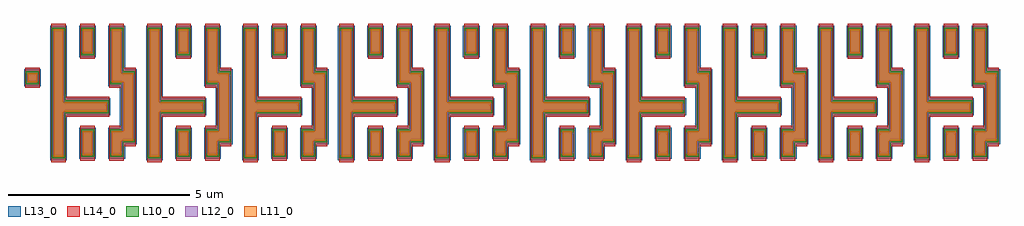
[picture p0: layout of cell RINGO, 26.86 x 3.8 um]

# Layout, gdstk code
import gdstk
lib = gdstk.Library(unit=1e-6, precision=1e-09)
def R(c, l, rs):  # rectangles x0, y0, x1, y1
    for r in rs: c.add(gdstk.rectangle(r[:2], r[2:], *l))
def A(c, l, x, y, w, h, nx, ny, dx, dy):  # array of equal rectangles
    R(c, l, [(x+i*dx, y+j*dy, x+i*dx+w, y+j*dy+h) for i in range(nx) for j in range(ny)])
def P(c, l, *ps):  # polygons
    for p in ps: c.add(gdstk.Polygon(p, *l))
L10_0 = (10, 0)
L11_0 = (11, 0)
L12_0 = (12, 0)
L13_0 = (13, 0)
L14_0 = (14, 0)

ringo = lib.new_cell('RINGO')
A(ringo, L10_0, -0.98, -0.42, 0.36, 2.84, 10, 1, 2.64, 0)
A(ringo, L10_0, -0.8, 0.82, 1.38, 0.36, 10, 1, 2.64, 0)
R(ringo, L10_0, [(-0.98,-0.38,-0.62,0.38), (-0.18,-0.38,0.18,0.38), (-0.18,-0.38,0.18,0.38), (0.62,-0.38,0.98,0.38), (1.66,-0.38,2.02,0.38), (2.46,-0.38,2.82,0.38), (2.46,-0.38,2.82,0.38), (3.26,-0.38,3.62,0.38), (4.3,-0.38,4.66,0.38), (5.1,-0.38,5.46,0.38), (5.1,-0.38,5.46,0.38), (5.9,-0.38,6.26,0.38), (6.94,-0.38,7.3,0.38), (7.74,-0.38,8.1,0.38), (7.74,-0.38,8.1,0.38), (8.54,-0.38,8.9,0.38), (9.58,-0.38,9.94,0.38), (10.38,-0.38,10.74,0.38), (10.38,-0.38,10.74,0.38), (11.18,-0.38,11.54,0.38), (12.22,-0.38,12.58,0.38), (13.02,-0.38,13.38,0.38), (13.02,-0.38,13.38,0.38), (13.82,-0.38,14.18,0.38), (14.86,-0.38,15.22,0.38), (15.66,-0.38,16.02,0.38), (15.66,-0.38,16.02,0.38), (16.46,-0.38,16.82,0.38), (17.5,-0.38,17.86,0.38), (18.3,-0.38,18.66,0.38), (18.3,-0.38,18.66,0.38), (19.1,-0.38,19.46,0.38), (20.14,-0.38,20.5,0.38), (20.94,-0.38,21.3,0.38), (20.94,-0.38,21.3,0.38), (21.74,-0.38,22.1,0.38), (22.78,-0.38,23.14,0.38), (23.58,-0.38,23.94,0.38), (23.58,-0.38,23.94,0.38), (24.38,-0.38,24.74,0.38), (-1.7,1.62,-1.34,1.98), (-0.98,2.42,-0.62,3.18), (-0.18,2.42,0.18,3.18), (-0.18,2.42,0.18,3.18), (0.62,2.42,0.98,3.18), (1.66,2.42,2.02,3.18), (2.46,2.42,2.82,3.18), (2.46,2.42,2.82,3.18), (3.26,2.42,3.62,3.18), (4.3,2.42,4.66,3.18), (5.1,2.42,5.46,3.18), (5.1,2.42,5.46,3.18), (5.9,2.42,6.26,3.18), (6.94,2.42,7.3,3.18), (7.74,2.42,8.1,3.18), (7.74,2.42,8.1,3.18), (8.54,2.42,8.9,3.18), (9.58,2.42,9.94,3.18), (10.38,2.42,10.74,3.18), (10.38,2.42,10.74,3.18), (11.18,2.42,11.54,3.18), (12.22,2.42,12.58,3.18), (13.02,2.42,13.38,3.18), (13.02,2.42,13.38,3.18), (13.82,2.42,14.18,3.18), (14.86,2.42,15.22,3.18), (15.66,2.42,16.02,3.18), (15.66,2.42,16.02,3.18), (16.46,2.42,16.82,3.18), (17.5,2.42,17.86,3.18), (18.3,2.42,18.66,3.18), (18.3,2.42,18.66,3.18), (19.1,2.42,19.46,3.18), (20.14,2.42,20.5,3.18), (20.94,2.42,21.3,3.18), (20.94,2.42,21.3,3.18), (21.74,2.42,22.1,3.18), (22.78,2.42,23.14,3.18), (23.58,2.42,23.94,3.18), (23.58,2.42,23.94,3.18), (24.38,2.42,24.74,3.18)])
A(ringo, L11_0, -0.13, -0.33, 0.26, 0.66, 10, 2, 2.64, 2.8)
R(ringo, L11_0, [(-1.65,1.67,-1.39,1.93)])
P(ringo, L11_0, [(-0.93,-0.37),(-0.93,3.13),(-0.67,3.13),(-0.67,1.13),(0.53,1.13),(0.53,0.87),(-0.67,0.87),(-0.67,-0.37)],
  [(0.67,-0.33),(0.67,0.33),(0.99,0.33),(0.99,1.67),(0.67,1.67),(0.67,3.13),(0.93,3.13),(0.93,1.93),(1.25,1.93),(1.25,0.07),(0.93,0.07),(0.93,-0.33)],
  [(1.71,-0.37),(1.71,3.13),(1.97,3.13),(1.97,1.13),(3.17,1.13),(3.17,0.87),(1.97,0.87),(1.97,-0.37)],
  [(3.31,-0.33),(3.31,0.33),(3.63,0.33),(3.63,1.67),(3.31,1.67),(3.31,3.13),(3.57,3.13),(3.57,1.93),(3.89,1.93),(3.89,0.07),(3.57,0.07),(3.57,-0.33)],
  [(4.35,-0.37),(4.35,3.13),(4.61,3.13),(4.61,1.13),(5.81,1.13),(5.81,0.87),(4.61,0.87),(4.61,-0.37)],
  [(5.95,-0.33),(5.95,0.33),(6.27,0.33),(6.27,1.67),(5.95,1.67),(5.95,3.13),(6.21,3.13),(6.21,1.93),(6.53,1.93),(6.53,0.07),(6.21,0.07),(6.21,-0.33)],
  [(6.99,-0.37),(6.99,3.13),(7.25,3.13),(7.25,1.13),(8.45,1.13),(8.45,0.87),(7.25,0.87),(7.25,-0.37)],
  [(8.59,-0.33),(8.59,0.33),(8.91,0.33),(8.91,1.67),(8.59,1.67),(8.59,3.13),(8.85,3.13),(8.85,1.93),(9.17,1.93),(9.17,0.07),(8.85,0.07),(8.85,-0.33)],
  [(9.63,-0.37),(9.63,3.13),(9.89,3.13),(9.89,1.13),(11.09,1.13),(11.09,0.87),(9.89,0.87),(9.89,-0.37)],
  [(11.23,-0.33),(11.23,0.33),(11.55,0.33),(11.55,1.67),(11.23,1.67),(11.23,3.13),(11.49,3.13),(11.49,1.93),(11.81,1.93),(11.81,0.07),(11.49,0.07),(11.49,-0.33)],
  [(12.27,-0.37),(12.27,3.13),(12.53,3.13),(12.53,1.13),(13.73,1.13),(13.73,0.87),(12.53,0.87),(12.53,-0.37)],
  [(13.87,-0.33),(13.87,0.33),(14.19,0.33),(14.19,1.67),(13.87,1.67),(13.87,3.13),(14.13,3.13),(14.13,1.93),(14.45,1.93),(14.45,0.07),(14.13,0.07),(14.13,-0.33)],
  [(14.91,-0.37),(14.91,3.13),(15.17,3.13),(15.17,1.13),(16.37,1.13),(16.37,0.87),(15.17,0.87),(15.17,-0.37)],
  [(16.51,-0.33),(16.51,0.33),(16.83,0.33),(16.83,1.67),(16.51,1.67),(16.51,3.13),(16.77,3.13),(16.77,1.93),(17.09,1.93),(17.09,0.07),(16.77,0.07),(16.77,-0.33)],
  [(17.55,-0.37),(17.55,3.13),(17.81,3.13),(17.81,1.13),(19.01,1.13),(19.01,0.87),(17.81,0.87),(17.81,-0.37)],
  [(19.15,-0.33),(19.15,0.33),(19.47,0.33),(19.47,1.67),(19.15,1.67),(19.15,3.13),(19.41,3.13),(19.41,1.93),(19.73,1.93),(19.73,0.07),(19.41,0.07),(19.41,-0.33)],
  [(20.19,-0.37),(20.19,3.13),(20.45,3.13),(20.45,1.13),(21.65,1.13),(21.65,0.87),(20.45,0.87),(20.45,-0.37)],
  [(21.79,-0.33),(21.79,0.33),(22.11,0.33),(22.11,1.67),(21.79,1.67),(21.79,3.13),(22.05,3.13),(22.05,1.93),(22.37,1.93),(22.37,0.07),(22.05,0.07),(22.05,-0.33)],
  [(22.83,-0.37),(22.83,3.13),(23.09,3.13),(23.09,1.13),(24.29,1.13),(24.29,0.87),(23.09,0.87),(23.09,-0.37)],
  [(24.43,-0.33),(24.43,0.33),(24.75,0.33),(24.75,1.67),(24.43,1.67),(24.43,3.13),(24.69,3.13),(24.69,1.93),(25.01,1.93),(25.01,0.07),(24.69,0.07),(24.69,-0.33)])
A(ringo, L12_0, -0.16, -0.28, 0.32, 0.56, 10, 2, 2.64, 2.8)
R(ringo, L12_0, [(-1.68,1.72,-1.36,1.88)])
P(ringo, L12_0, [(-0.96,-0.32),(-0.96,3.08),(-0.64,3.08),(-0.64,1.08),(0.56,1.08),(0.56,0.92),(-0.64,0.92),(-0.64,-0.32)],
  [(0.64,-0.28),(0.64,0.28),(0.96,0.28),(0.96,1.72),(0.64,1.72),(0.64,3.08),(0.96,3.08),(0.96,1.88),(1.28,1.88),(1.28,0.12),(0.96,0.12),(0.96,-0.28)],
  [(1.68,-0.32),(1.68,3.08),(2,3.08),(2,1.08),(3.2,1.08),(3.2,0.92),(2,0.92),(2,-0.32)],
  [(3.28,-0.28),(3.28,0.28),(3.6,0.28),(3.6,1.72),(3.28,1.72),(3.28,3.08),(3.6,3.08),(3.6,1.88),(3.92,1.88),(3.92,0.12),(3.6,0.12),(3.6,-0.28)],
  [(4.32,-0.32),(4.32,3.08),(4.64,3.08),(4.64,1.08),(5.84,1.08),(5.84,0.92),(4.64,0.92),(4.64,-0.32)],
  [(5.92,-0.28),(5.92,0.28),(6.24,0.28),(6.24,1.72),(5.92,1.72),(5.92,3.08),(6.24,3.08),(6.24,1.88),(6.56,1.88),(6.56,0.12),(6.24,0.12),(6.24,-0.28)],
  [(6.96,-0.32),(6.96,3.08),(7.28,3.08),(7.28,1.08),(8.48,1.08),(8.48,0.92),(7.28,0.92),(7.28,-0.32)],
  [(8.56,-0.28),(8.56,0.28),(8.88,0.28),(8.88,1.72),(8.56,1.72),(8.56,3.08),(8.88,3.08),(8.88,1.88),(9.2,1.88),(9.2,0.12),(8.88,0.12),(8.88,-0.28)],
  [(9.6,-0.32),(9.6,3.08),(9.92,3.08),(9.92,1.08),(11.12,1.08),(11.12,0.92),(9.92,0.92),(9.92,-0.32)],
  [(11.2,-0.28),(11.2,0.28),(11.52,0.28),(11.52,1.72),(11.2,1.72),(11.2,3.08),(11.52,3.08),(11.52,1.88),(11.84,1.88),(11.84,0.12),(11.52,0.12),(11.52,-0.28)],
  [(12.24,-0.32),(12.24,3.08),(12.56,3.08),(12.56,1.08),(13.76,1.08),(13.76,0.92),(12.56,0.92),(12.56,-0.32)],
  [(13.84,-0.28),(13.84,0.28),(14.16,0.28),(14.16,1.72),(13.84,1.72),(13.84,3.08),(14.16,3.08),(14.16,1.88),(14.48,1.88),(14.48,0.12),(14.16,0.12),(14.16,-0.28)],
  [(14.88,-0.32),(14.88,3.08),(15.2,3.08),(15.2,1.08),(16.4,1.08),(16.4,0.92),(15.2,0.92),(15.2,-0.32)],
  [(16.48,-0.28),(16.48,0.28),(16.8,0.28),(16.8,1.72),(16.48,1.72),(16.48,3.08),(16.8,3.08),(16.8,1.88),(17.12,1.88),(17.12,0.12),(16.8,0.12),(16.8,-0.28)],
  [(17.52,-0.32),(17.52,3.08),(17.84,3.08),(17.84,1.08),(19.04,1.08),(19.04,0.92),(17.84,0.92),(17.84,-0.32)],
  [(19.12,-0.28),(19.12,0.28),(19.44,0.28),(19.44,1.72),(19.12,1.72),(19.12,3.08),(19.44,3.08),(19.44,1.88),(19.76,1.88),(19.76,0.12),(19.44,0.12),(19.44,-0.28)],
  [(20.16,-0.32),(20.16,3.08),(20.48,3.08),(20.48,1.08),(21.68,1.08),(21.68,0.92),(20.48,0.92),(20.48,-0.32)],
  [(21.76,-0.28),(21.76,0.28),(22.08,0.28),(22.08,1.72),(21.76,1.72),(21.76,3.08),(22.08,3.08),(22.08,1.88),(22.4,1.88),(22.4,0.12),(22.08,0.12),(22.08,-0.28)],
  [(22.8,-0.32),(22.8,3.08),(23.12,3.08),(23.12,1.08),(24.32,1.08),(24.32,0.92),(23.12,0.92),(23.12,-0.32)],
  [(24.4,-0.28),(24.4,0.28),(24.72,0.28),(24.72,1.72),(24.4,1.72),(24.4,3.08),(24.72,3.08),(24.72,1.88),(25.04,1.88),(25.04,0.12),(24.72,0.12),(24.72,-0.28)])
A(ringo, L13_0, -0.23, -0.43, 0.46, 0.86, 10, 2, 2.64, 2.8)
R(ringo, L13_0, [(-1.75,1.57,-1.29,2.03)])
P(ringo, L13_0, [(-1.03,-0.47),(-1.03,3.23),(-0.57,3.23),(-0.57,1.23),(0.63,1.23),(0.63,0.77),(-0.57,0.77),(-0.57,-0.47)],
  [(0.57,-0.43),(0.57,0.43),(0.89,0.43),(0.89,1.57),(0.57,1.57),(0.57,3.23),(1.03,3.23),(1.03,2.03),(1.35,2.03),(1.35,-0.03),(1.03,-0.03),(1.03,-0.43)],
  [(1.61,-0.47),(1.61,3.23),(2.07,3.23),(2.07,1.23),(3.27,1.23),(3.27,0.77),(2.07,0.77),(2.07,-0.47)],
  [(3.21,-0.43),(3.21,0.43),(3.53,0.43),(3.53,1.57),(3.21,1.57),(3.21,3.23),(3.67,3.23),(3.67,2.03),(3.99,2.03),(3.99,-0.03),(3.67,-0.03),(3.67,-0.43)],
  [(4.25,-0.47),(4.25,3.23),(4.71,3.23),(4.71,1.23),(5.91,1.23),(5.91,0.77),(4.71,0.77),(4.71,-0.47)],
  [(5.85,-0.43),(5.85,0.43),(6.17,0.43),(6.17,1.57),(5.85,1.57),(5.85,3.23),(6.31,3.23),(6.31,2.03),(6.63,2.03),(6.63,-0.03),(6.31,-0.03),(6.31,-0.43)],
  [(6.89,-0.47),(6.89,3.23),(7.35,3.23),(7.35,1.23),(8.55,1.23),(8.55,0.77),(7.35,0.77),(7.35,-0.47)],
  [(8.49,-0.43),(8.49,0.43),(8.81,0.43),(8.81,1.57),(8.49,1.57),(8.49,3.23),(8.95,3.23),(8.95,2.03),(9.27,2.03),(9.27,-0.03),(8.95,-0.03),(8.95,-0.43)],
  [(9.53,-0.47),(9.53,3.23),(9.99,3.23),(9.99,1.23),(11.19,1.23),(11.19,0.77),(9.99,0.77),(9.99,-0.47)],
  [(11.13,-0.43),(11.13,0.43),(11.45,0.43),(11.45,1.57),(11.13,1.57),(11.13,3.23),(11.59,3.23),(11.59,2.03),(11.91,2.03),(11.91,-0.03),(11.59,-0.03),(11.59,-0.43)],
  [(12.17,-0.47),(12.17,3.23),(12.63,3.23),(12.63,1.23),(13.83,1.23),(13.83,0.77),(12.63,0.77),(12.63,-0.47)],
  [(13.77,-0.43),(13.77,0.43),(14.09,0.43),(14.09,1.57),(13.77,1.57),(13.77,3.23),(14.23,3.23),(14.23,2.03),(14.55,2.03),(14.55,-0.03),(14.23,-0.03),(14.23,-0.43)],
  [(14.81,-0.47),(14.81,3.23),(15.27,3.23),(15.27,1.23),(16.47,1.23),(16.47,0.77),(15.27,0.77),(15.27,-0.47)],
  [(16.41,-0.43),(16.41,0.43),(16.73,0.43),(16.73,1.57),(16.41,1.57),(16.41,3.23),(16.87,3.23),(16.87,2.03),(17.19,2.03),(17.19,-0.03),(16.87,-0.03),(16.87,-0.43)],
  [(17.45,-0.47),(17.45,3.23),(17.91,3.23),(17.91,1.23),(19.11,1.23),(19.11,0.77),(17.91,0.77),(17.91,-0.47)],
  [(19.05,-0.43),(19.05,0.43),(19.37,0.43),(19.37,1.57),(19.05,1.57),(19.05,3.23),(19.51,3.23),(19.51,2.03),(19.83,2.03),(19.83,-0.03),(19.51,-0.03),(19.51,-0.43)],
  [(20.09,-0.47),(20.09,3.23),(20.55,3.23),(20.55,1.23),(21.75,1.23),(21.75,0.77),(20.55,0.77),(20.55,-0.47)],
  [(21.69,-0.43),(21.69,0.43),(22.01,0.43),(22.01,1.57),(21.69,1.57),(21.69,3.23),(22.15,3.23),(22.15,2.03),(22.47,2.03),(22.47,-0.03),(22.15,-0.03),(22.15,-0.43)],
  [(22.73,-0.47),(22.73,3.23),(23.19,3.23),(23.19,1.23),(24.39,1.23),(24.39,0.77),(23.19,0.77),(23.19,-0.47)],
  [(24.33,-0.43),(24.33,0.43),(24.65,0.43),(24.65,1.57),(24.33,1.57),(24.33,3.23),(24.79,3.23),(24.79,2.03),(25.11,2.03),(25.11,-0.03),(24.79,-0.03),(24.79,-0.43)])
A(ringo, L14_0, -0.2, -0.48, 0.4, 0.96, 10, 2, 2.64, 2.8)
R(ringo, L14_0, [(-1.72,1.52,-1.32,2.08)])
P(ringo, L14_0, [(-1,-0.52),(-1,3.28),(-0.6,3.28),(-0.6,1.28),(0.6,1.28),(0.6,0.72),(-0.6,0.72),(-0.6,-0.52)],
  [(0.6,-0.48),(0.6,0.48),(0.92,0.48),(0.92,1.52),(0.6,1.52),(0.6,3.28),(1,3.28),(1,2.08),(1.32,2.08),(1.32,-0.08),(1,-0.08),(1,-0.48)],
  [(1.64,-0.52),(1.64,3.28),(2.04,3.28),(2.04,1.28),(3.24,1.28),(3.24,0.72),(2.04,0.72),(2.04,-0.52)],
  [(3.24,-0.48),(3.24,0.48),(3.56,0.48),(3.56,1.52),(3.24,1.52),(3.24,3.28),(3.64,3.28),(3.64,2.08),(3.96,2.08),(3.96,-0.08),(3.64,-0.08),(3.64,-0.48)],
  [(4.28,-0.52),(4.28,3.28),(4.68,3.28),(4.68,1.28),(5.88,1.28),(5.88,0.72),(4.68,0.72),(4.68,-0.52)],
  [(5.88,-0.48),(5.88,0.48),(6.2,0.48),(6.2,1.52),(5.88,1.52),(5.88,3.28),(6.28,3.28),(6.28,2.08),(6.6,2.08),(6.6,-0.08),(6.28,-0.08),(6.28,-0.48)],
  [(6.92,-0.52),(6.92,3.28),(7.32,3.28),(7.32,1.28),(8.52,1.28),(8.52,0.72),(7.32,0.72),(7.32,-0.52)],
  [(8.52,-0.48),(8.52,0.48),(8.84,0.48),(8.84,1.52),(8.52,1.52),(8.52,3.28),(8.92,3.28),(8.92,2.08),(9.24,2.08),(9.24,-0.08),(8.92,-0.08),(8.92,-0.48)],
  [(9.56,-0.52),(9.56,3.28),(9.96,3.28),(9.96,1.28),(11.16,1.28),(11.16,0.72),(9.96,0.72),(9.96,-0.52)],
  [(11.16,-0.48),(11.16,0.48),(11.48,0.48),(11.48,1.52),(11.16,1.52),(11.16,3.28),(11.56,3.28),(11.56,2.08),(11.88,2.08),(11.88,-0.08),(11.56,-0.08),(11.56,-0.48)],
  [(12.2,-0.52),(12.2,3.28),(12.6,3.28),(12.6,1.28),(13.8,1.28),(13.8,0.72),(12.6,0.72),(12.6,-0.52)],
  [(13.8,-0.48),(13.8,0.48),(14.12,0.48),(14.12,1.52),(13.8,1.52),(13.8,3.28),(14.2,3.28),(14.2,2.08),(14.52,2.08),(14.52,-0.08),(14.2,-0.08),(14.2,-0.48)],
  [(14.84,-0.52),(14.84,3.28),(15.24,3.28),(15.24,1.28),(16.44,1.28),(16.44,0.72),(15.24,0.72),(15.24,-0.52)],
  [(16.44,-0.48),(16.44,0.48),(16.76,0.48),(16.76,1.52),(16.44,1.52),(16.44,3.28),(16.84,3.28),(16.84,2.08),(17.16,2.08),(17.16,-0.08),(16.84,-0.08),(16.84,-0.48)],
  [(17.48,-0.52),(17.48,3.28),(17.88,3.28),(17.88,1.28),(19.08,1.28),(19.08,0.72),(17.88,0.72),(17.88,-0.52)],
  [(19.08,-0.48),(19.08,0.48),(19.4,0.48),(19.4,1.52),(19.08,1.52),(19.08,3.28),(19.48,3.28),(19.48,2.08),(19.8,2.08),(19.8,-0.08),(19.48,-0.08),(19.48,-0.48)],
  [(20.12,-0.52),(20.12,3.28),(20.52,3.28),(20.52,1.28),(21.72,1.28),(21.72,0.72),(20.52,0.72),(20.52,-0.52)],
  [(21.72,-0.48),(21.72,0.48),(22.04,0.48),(22.04,1.52),(21.72,1.52),(21.72,3.28),(22.12,3.28),(22.12,2.08),(22.44,2.08),(22.44,-0.08),(22.12,-0.08),(22.12,-0.48)],
  [(22.76,-0.52),(22.76,3.28),(23.16,3.28),(23.16,1.28),(24.36,1.28),(24.36,0.72),(23.16,0.72),(23.16,-0.52)],
  [(24.36,-0.48),(24.36,0.48),(24.68,0.48),(24.68,1.52),(24.36,1.52),(24.36,3.28),(24.76,3.28),(24.76,2.08),(25.08,2.08),(25.08,-0.08),(24.76,-0.08),(24.76,-0.48)])
ringo.add(gdstk.FlexPath([(0.8,0.2),(1.12,0.2),(1.12,1.8),(0.8,1.8),(0.8,2.42)], 0.36, ends="flush", simple_path=True, layer=10, datatype=0))  # L10_0
ringo.add(gdstk.FlexPath([(3.44,0.2),(3.76,0.2),(3.76,1.8),(3.44,1.8),(3.44,2.42)], 0.36, ends="flush", simple_path=True, layer=10, datatype=0))  # L10_0
ringo.add(gdstk.FlexPath([(6.08,0.2),(6.4,0.2),(6.4,1.8),(6.08,1.8),(6.08,2.42)], 0.36, ends="flush", simple_path=True, layer=10, datatype=0))  # L10_0
ringo.add(gdstk.FlexPath([(8.72,0.2),(9.04,0.2),(9.04,1.8),(8.72,1.8),(8.72,2.42)], 0.36, ends="flush", simple_path=True, layer=10, datatype=0))  # L10_0
ringo.add(gdstk.FlexPath([(11.36,0.2),(11.68,0.2),(11.68,1.8),(11.36,1.8),(11.36,2.42)], 0.36, ends="flush", simple_path=True, layer=10, datatype=0))  # L10_0
ringo.add(gdstk.FlexPath([(14,0.2),(14.32,0.2),(14.32,1.8),(14,1.8),(14,2.42)], 0.36, ends="flush", simple_path=True, layer=10, datatype=0))  # L10_0
ringo.add(gdstk.FlexPath([(16.64,0.2),(16.96,0.2),(16.96,1.8),(16.64,1.8),(16.64,2.42)], 0.36, ends="flush", simple_path=True, layer=10, datatype=0))  # L10_0
ringo.add(gdstk.FlexPath([(19.28,0.2),(19.6,0.2),(19.6,1.8),(19.28,1.8),(19.28,2.42)], 0.36, ends="flush", simple_path=True, layer=10, datatype=0))  # L10_0
ringo.add(gdstk.FlexPath([(21.92,0.2),(22.24,0.2),(22.24,1.8),(21.92,1.8),(21.92,2.42)], 0.36, ends="flush", simple_path=True, layer=10, datatype=0))  # L10_0
ringo.add(gdstk.FlexPath([(24.56,0.2),(24.88,0.2),(24.88,1.8),(24.56,1.8),(24.56,2.42)], 0.36, ends="flush", simple_path=True, layer=10, datatype=0))  # L10_0

lib.write_gds('RINGO.gds')
